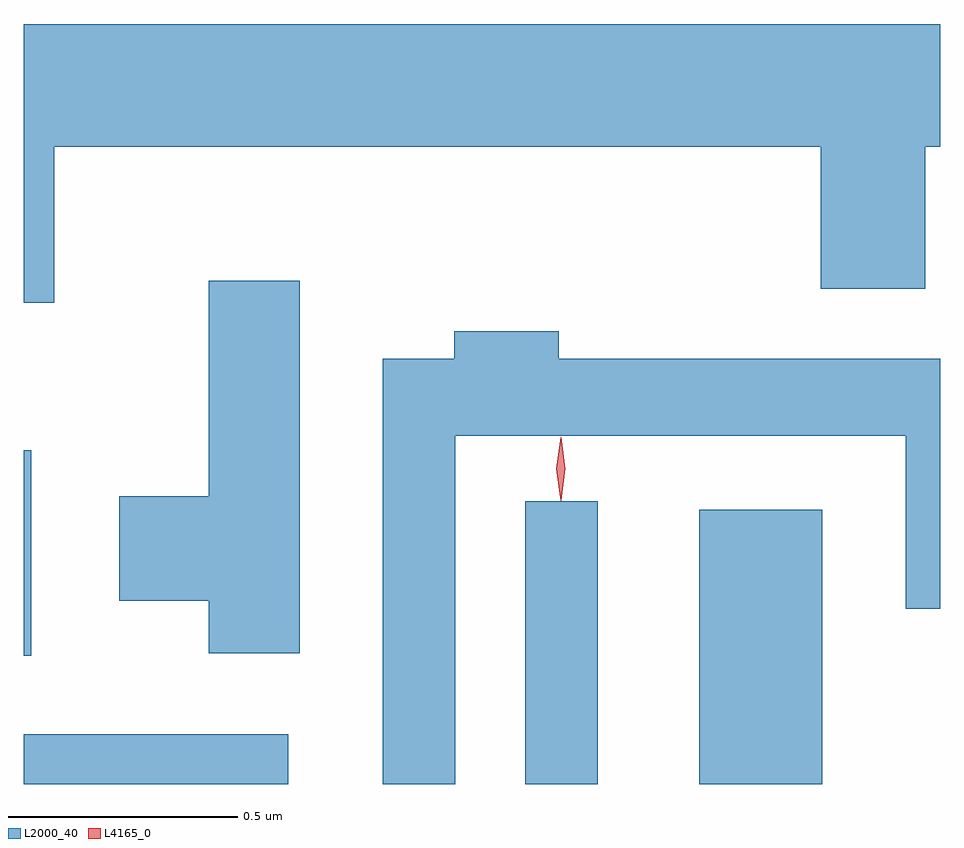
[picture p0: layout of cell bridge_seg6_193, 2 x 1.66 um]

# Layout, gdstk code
import gdstk
lib = gdstk.Library(unit=1e-6, precision=1e-09)
def R(c, l, rs):  # rectangles x0, y0, x1, y1
    for r in rs: c.add(gdstk.rectangle(r[:2], r[2:], *l))
def P(c, l, *ps):  # polygons
    for p in ps: c.add(gdstk.Polygon(p, *l))
L2000_40 = (2000, 40)
L4165_0 = (4165, 0)

bridge_seg6_193 = lib.new_cell('bridge_seg6_193')
R(bridge_seg6_193, L2000_40, [(1081.062,1595.266,1081.639,1595.374), (1082.156,1595.266,1082.314,1595.883), (1082.536,1595.266,1082.804,1595.864), (1081.062,1595.546,1081.079,1595.994)])
P(bridge_seg6_193, L2000_40, [(1081.129,1596.656),(1082.801,1596.656),(1082.801,1596.346),(1083.029,1596.346),(1083.029,1596.656),(1083.062,1596.656),(1083.062,1596.924),(1081.062,1596.924),(1081.062,1596.316),(1081.129,1596.316)],
  [(1081.664,1596.364),(1081.466,1596.364),(1081.466,1595.894),(1081.271,1595.894),(1081.271,1595.666),(1081.466,1595.666),(1081.466,1595.551),(1081.664,1595.551)],
  [(1082.004,1596.026),(1082.986,1596.026),(1082.986,1595.648),(1083.062,1595.648),(1083.062,1596.194),(1082.229,1596.194),(1082.229,1596.254),(1082.001,1596.254),(1082.001,1596.194),(1081.846,1596.194),(1081.846,1595.266),(1082.004,1595.266)])
P(bridge_seg6_193, L4165_0, [(1082.234,1595.884),(1082.234,1595.884),(1082.224,1595.954),(1082.234,1596.023),(1082.234,1596.023),(1082.235,1596.023),(1082.244,1595.954),(1082.235,1595.884)],
  [(1082.234,1595.887),(1082.224,1595.954),(1082.234,1596.02),(1082.234,1596.02),(1082.235,1596.02),(1082.244,1595.954),(1082.235,1595.887),(1082.235,1595.887)])

lib.write_gds('bridge_seg6_193.gds')
